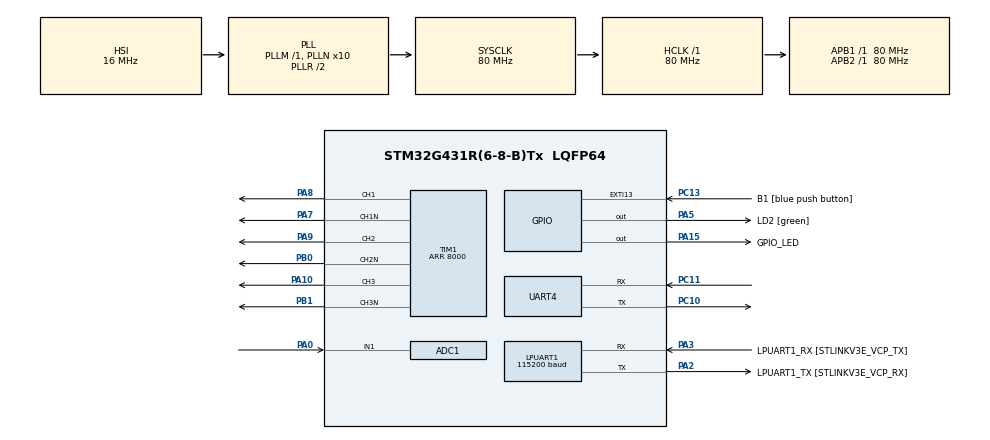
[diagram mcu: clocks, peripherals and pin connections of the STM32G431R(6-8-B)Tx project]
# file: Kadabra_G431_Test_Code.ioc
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Mcu.Family=STM32G4
TIM1.Channel-Output\ Compare2\ CH2\ CH2N=TIM_CHANNEL_2
RCC.CortexFreq_Value=80000000
PC10.Signal=UART4_TX
PA14.GPIO_Label=T_SWCLK
LPUART1.WordLength=UART_WORDLENGTH_8B
PC13.GPIO_Label=B1 [blue push button]
RCC.SYSCLKSource=RCC_SYSCLKSOURCE_PLLCLK
ProjectManager.StackSize=0x400
PA15.GPIO_Label=GPIO_LED
RCC.HCLKFreq_Value=80000000
RCC.APB2TimFreq_Value=80000000
RCC.AHBFreq_Value=80000000
ADC1.Channel-0\#ChannelRegularConversion=ADC_CHANNEL_1
RCC.HSE_VALUE=24000000
RCC.ADC12Freq_Value=80000000
RCC.RTCClockSelection=RCC_RTCCLKSOURCE_LSE
PC14-OSC32_IN.Mode=LSE-External-Oscillator
PA14.Mode=Serial_Wire
PA0.Mode=IN1-Single-Ended
VP_SYS_VS_DBSignals.Mode=DisableDeadBatterySignals
PA8.Signal=S_TIM1_CH1
ADC1.SamplingTime-0\#ChannelRegularConversion=ADC_SAMPLETIME_2CYCLES_5
PA0.Signal=ADC1_IN1
Mcu.Package=LQFP64
PB1.Signal=TIM1_CH3N
PA2.GPIO_Label=LPUART1_TX [STLINKV3E_VCP_RX]
PA10.Signal=S_TIM1_CH3
PA15.Signal=GPIO_Output
PC11.Mode=Asynchronous
RCC.APB1TimFreq_Value=80000000
PF1-OSC_OUT.Mode=HSE-External-Oscillator
PF1-OSC_OUT.Signal=RCC_OSC_OUT
RCC.HSI48_VALUE=48000000
PA3.Signal=LPUART1_RX
PB3.GPIO_Label=T_SWO
PC15-OSC32_OUT.Mode=LSE-External-Oscillator
ADC1.Rank-0\#ChannelRegularConversion=1
PA7.Mode=PWM Generation1 CH1 CH1N
TIM1.CounterMode=TIM_COUNTERMODE_CENTERALIGNED3
ADC1.OffsetNumber-0\#ChannelRegularConversion=ADC_OFFSET_NONE
PC13.Signal=GPXTI13
PC11.Signal=UART4_RX
PC10.Mode=Asynchronous
RCC.EXTERNAL_CLOCK_VALUE=12288000
TIM1.Channel-PWM\ Generation1\ CH1\ CH1N=TIM_CHANNEL_1
PC14-OSC32_IN.Signal=RCC_OSC32_IN
PA13.Signal=SYS_JTMS-SWDIO
PA3.Mode=Asynchronous
SH.S_TIM1_CH1.0=TIM1_CH1,PWM Generation1 CH1 CH1N
ProjectManager.TargetToolchain=STM32CubeIDE
PA9.Signal=S_TIM1_CH2
RCC.USBFreq_Value=80000000
PC15-OSC32_OUT.Signal=RCC_OSC32_OUT
PF0-OSC_IN.Mode=HSE-External-Oscillator
PA5.Signal=GPIO_Output
PB0.Mode=Output Compare2 CH2 CH2N
NVIC.TIM1_BRK_TIM15_IRQn=true\:0\:0\:false\:false\:true\:true\:true
board=NUCLEO-G431RB
RCC.VCOOutputFreq_Value=160000000
RCC.APB2Freq_Value=80000000
VP_TIM15_VS_ClockSourceITR.Mode=TriggerSource_ITR0
SH.S_TIM1_CH2.0=TIM1_CH2,Output Compare2 CH2 CH2N
PA13.Mode=Serial_Wire
Mcu.Name=STM32G431R(6-8-B)Tx
LPUART1.BaudRate=115200
PA13.GPIO_Label=T_SWDIO
PA2.Signal=LPUART1_TX
PB3.Signal=SYS_JTDO-SWO
RCC.SYSCLKFreq_VALUE=80000000
ADC1.master=1
PA5.GPIO_Label=LD2 [green]
PA14.Signal=SYS_JTCK-SWCLK
ProjectManager.HeapSize=0x200
PB1.Mode=Output Compare3 CH3 CH3N
SH.S_TIM1_CH3.0=TIM1_CH3,Output Compare3 CH3 CH3N
RCC.HSI_VALUE=16000000
NVIC.PriorityGroup=NVIC_PRIORITYGROUP_4
ADC1.NbrOfConversionFlag=1
RCC.PLLN=10
PA2.Mode=Asynchronous
TIM1.Channel-Output\ Compare3\ CH3\ CH3N=TIM_CHANNEL_3
PF0-OSC_IN.Signal=RCC_OSC_IN
RCC.APB1Freq_Value=80000000
PB0.Signal=TIM1_CH2N
TIM1.PeriodNoDither=8000
PA3.GPIO_Label=LPUART1_RX [STLINKV3E_VCP_TX]
PA7.Signal=TIM1_CH1N

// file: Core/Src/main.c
/* USER CODE BEGIN Header */
/**
  ******************************************************************************
  * @file           : main.c
  * @brief          : Main program body
  ******************************************************************************
  * @attention
  *
  * <h2><center>&copy; Copyright (c) 2022 STMicroelectronics.
  * All rights reserved.</center></h2>
  *
  * This software component is licensed by ST under BSD 3-Clause license,
  * the "License"; You may not use this file except in compliance with the
  * License. You may obtain a copy of the License at:
  *                        opensource.org/licenses/BSD-3-Clause
  *
  ******************************************************************************
  */
/* USER CODE END Header */
#include "main.h"

/* USER CODE BEGIN Includes */
#include "math.h"
#include "VHZ.h"
#include "SVPWM.h"
#include <string.h>
#include <stdio.h>
#include "DEFINES.H"

/* USER CODE END Includes */

/* USER CODE BEGIN PD */
#define INPUT_VALUE 3.3
#define RESISTOR_VALUE 100
/* USER CODE END PD */

ADC_HandleTypeDef hadc1;

UART_HandleTypeDef hlpuart1;
UART_HandleTypeDef huart4;

TIM_HandleTypeDef htim1;
TIM_HandleTypeDef htim15;

void SystemClock_Config(void);
static void MX_GPIO_Init(void);
static void MX_LPUART1_UART_Init(void);
static void MX_UART4_Init(void);
static void MX_ADC1_Init(void);
static void MX_TIM1_Init(void);
static void MX_TIM15_Init(void);
/* USER CODE BEGIN PFP */
float adc_voltage_conversion (uint16_t raw_a);
float adc_current_conversion (uint16_t raw_a);

/* USER CODE END PFP */

/* USER CODE BEGIN 0 */
VHZPROFILE vhz1;
SVPWM svpwm1;
int OldSector;

float a = 0;
/* USER CODE END 0 */

int main(void)
{
  /* USER CODE BEGIN 1 */
	 SVPWM_Init(&svpwm1, 10000);
	 VHZ_Init(&vhz1, 0.001, 0.01, 10, 100);

	float raw_voltage;
	float raw_current;
	//float voltage;

	char buffer_msg[11];
	char intro_msg[10];
	char intro_response[2];

  /* USER CODE END 1 */

  /* MCU Configuration--------------------------------------------------------*/

  /* Reset of all peripherals, Initializes the Flash interface and the Systick. */
  HAL_Init();

  /* Configure the system clock */
  SystemClock_Config();

  /* Initialize all configured peripherals */
  MX_GPIO_Init();
  MX_LPUART1_UART_Init();
  MX_UART4_Init();
  MX_ADC1_Init();
  MX_TIM1_Init();
  MX_TIM15_Init();
  /* USER CODE BEGIN 2 */
  // Start PWM timers
    HAL_TIM_PWM_Start(&htim1, TIM_CHANNEL_1);
    HAL_TIMEx_PWMN_Start(&htim1, TIM_CHANNEL_1);
    HAL_TIM_PWM_Start(&htim1, TIM_CHANNEL_2);
    HAL_TIMEx_PWMN_Start(&htim1, TIM_CHANNEL_2);
    HAL_TIM_PWM_Start(&htim1, TIM_CHANNEL_3);
    HAL_TIMEx_PWMN_Start(&htim1, TIM_CHANNEL_3);
  //Initialize the interrupt timer
    HAL_TIM_Base_Start_IT(&htim15);

  // Start ADCs
	  HAL_ADC_Start(&hadc1);

  /* USER CODE END 2 */

  /* Infinite loop */
  while (1)
  {

    /* USER CODE BEGIN 3 */
	  sprintf(intro_msg, "testing:");
	  HAL_UART_Transmit(&hlpuart1, (uint8_t*)intro_msg, strlen(intro_msg), HAL_MAX_DELAY);
	  memset(intro_msg,0,10);

	  HAL_UART_Receive(&hlpuart1, (uint8_t*)intro_response, 2, 5000);
	  sprintf(intro_msg, "\r\n");

	  HAL_UART_Transmit(&hlpuart1, (uint8_t*)intro_msg, strlen(intro_msg), HAL_MAX_DELAY);
	  memset(intro_msg, 0, 10);

	  switch(intro_response[0]) {

	  case 'm':				//MCU BLINKY TEST
		  		  	  // Blink LED connected to PA15
		  		  	 for(int i = 0; i < 5; ++i){
		  		  		 HAL_GPIO_WritePin(GPIOA, GPIO_PIN_15, GPIO_PIN_SET);
		  		  		 HAL_Delay(500);
		  		  		 HAL_GPIO_WritePin(GPIOA, GPIO_PIN_15, GPIO_PIN_RESET);
		  		  	  }
	  break;

	  case 'v':				// Voltage Sense Test
		  		  	  HAL_ADC_PollForConversion(&hadc1, HAL_MAX_DELAY);
		  		  	  raw_voltage = HAL_ADC_GetValue(&hadc1);
		  		  	  raw_voltage = adc_voltage_conversion(raw_voltage);

		  			  sprintf(buffer_msg, "%f\r\n", raw_voltage);
		  			  HAL_UART_Transmit(&hlpuart1, (uint8_t*)buffer_msg, strlen(buffer_msg), HAL_MAX_DELAY);

	  break;

	  case 'c':				// Current Sense Test
		  		  	  HAL_ADC_PollForConversion(&hadc1, HAL_MAX_DELAY);
		  		  	  raw_voltage = HAL_ADC_GetValue(&hadc1);
		  		  	  raw_current = adc_current_conversion(raw_voltage);

		  			  sprintf(buffer_msg, "%f\r\n", raw_current);
		  			  HAL_UART_Transmit(&hlpuart1, (uint8_t*)buffer_msg, strlen(buffer_msg), HAL_MAX_DELAY);
	break;
	  }

  }
  /* USER CODE END 3 */
}

void SystemClock_Config(void)
{
  RCC_OscInitTypeDef RCC_OscInitStruct = {0};
  RCC_ClkInitTypeDef RCC_ClkInitStruct = {0};
  RCC_PeriphCLKInitTypeDef PeriphClkInit = {0};

  /** Configure the main internal regulator output voltage
  */
  HAL_PWREx_ControlVoltageScaling(PWR_REGULATOR_VOLTAGE_SCALE1);
  /** Initializes the RCC Oscillators according to the specified parameters
  * in the RCC_OscInitTypeDef structure.
  */
  RCC_OscInitStruct.OscillatorType = RCC_OSCILLATORTYPE_HSI;
  RCC_OscInitStruct.HSIState = RCC_HSI_ON;
  RCC_OscInitStruct.HSICalibrationValue = RCC_HSICALIBRATION_DEFAULT;
  RCC_OscInitStruct.PLL.PLLState = RCC_PLL_ON;
  RCC_OscInitStruct.PLL.PLLSource = RCC_PLLSOURCE_HSI;
  RCC_OscInitStruct.PLL.PLLM = RCC_PLLM_DIV1;
  RCC_OscInitStruct.PLL.PLLN = 10;
  RCC_OscInitStruct.PLL.PLLP = RCC_PLLP_DIV2;
  RCC_OscInitStruct.PLL.PLLQ = RCC_PLLQ_DIV2;
  RCC_OscInitStruct.PLL.PLLR = RCC_PLLR_DIV2;
  if (HAL_RCC_OscConfig(&RCC_OscInitStruct) != HAL_OK)
  {
    Error_Handler();
  }
  /** Initializes the CPU, AHB and APB buses clocks
  */
  RCC_ClkInitStruct.ClockType = RCC_CLOCKTYPE_HCLK|RCC_CLOCKTYPE_SYSCLK
                              |RCC_CLOCKTYPE_PCLK1|RCC_CLOCKTYPE_PCLK2;
  RCC_ClkInitStruct.SYSCLKSource = RCC_SYSCLKSOURCE_PLLCLK;
  RCC_ClkInitStruct.AHBCLKDivider = RCC_SYSCLK_DIV1;
  RCC_ClkInitStruct.APB1CLKDivider = RCC_HCLK_DIV1;
  RCC_ClkInitStruct.APB2CLKDivider = RCC_HCLK_DIV1;

  if (HAL_RCC_ClockConfig(&RCC_ClkInitStruct, FLASH_LATENCY_2) != HAL_OK)
  {
    Error_Handler();
  }
  /** Initializes the peripherals clocks
  */
  PeriphClkInit.PeriphClockSelection = RCC_PERIPHCLK_UART4|RCC_PERIPHCLK_LPUART1
                              |RCC_PERIPHCLK_ADC12;
  PeriphClkInit.Uart4ClockSelection = RCC_UART4CLKSOURCE_PCLK1;
  PeriphClkInit.Lpuart1ClockSelection = RCC_LPUART1CLKSOURCE_PCLK1;
  PeriphClkInit.Adc12ClockSelection = RCC_ADC12CLKSOURCE_SYSCLK;
  if (HAL_RCCEx_PeriphCLKConfig(&PeriphClkInit) != HAL_OK)
  {
    Error_Handler();
  }
}

static void MX_ADC1_Init(void)
{

  ADC_MultiModeTypeDef multimode = {0};
  ADC_ChannelConfTypeDef sConfig = {0};

  /** Common config
  */
  hadc1.Instance = ADC1;
  hadc1.Init.ClockPrescaler = ADC_CLOCK_SYNC_PCLK_DIV2;
  hadc1.Init.Resolution = ADC_RESOLUTION_12B;
  hadc1.Init.DataAlign = ADC_DATAALIGN_RIGHT;
  hadc1.Init.GainCompensation = 0;
  hadc1.Init.ScanConvMode = ADC_SCAN_DISABLE;
  hadc1.Init.EOCSelection = ADC_EOC_SINGLE_CONV;
  hadc1.Init.LowPowerAutoWait = DISABLE;
  hadc1.Init.ContinuousConvMode = DISABLE;
  hadc1.Init.NbrOfConversion = 1;
  hadc1.Init.DiscontinuousConvMode = DISABLE;
  hadc1.Init.ExternalTrigConv = ADC_SOFTWARE_START;
  hadc1.Init.ExternalTrigConvEdge = ADC_EXTERNALTRIGCONVEDGE_NONE;
  hadc1.Init.DMAContinuousRequests = DISABLE;
  hadc1.Init.Overrun = ADC_OVR_DATA_PRESERVED;
  hadc1.Init.OversamplingMode = DISABLE;
  if (HAL_ADC_Init(&hadc1) != HAL_OK)
  {
    Error_Handler();
  }
  /** Configure the ADC multi-mode
  */
  multimode.Mode = ADC_MODE_INDEPENDENT;
  if (HAL_ADCEx_MultiModeConfigChannel(&hadc1, &multimode) != HAL_OK)
  {
    Error_Handler();
  }
  /** Configure Regular Channel
  */
  sConfig.Channel = ADC_CHANNEL_1;
  sConfig.Rank = ADC_REGULAR_RANK_1;
  sConfig.SamplingTime = ADC_SAMPLETIME_2CYCLES_5;
  sConfig.SingleDiff = ADC_SINGLE_ENDED;
  sConfig.OffsetNumber = ADC_OFFSET_NONE;
  sConfig.Offset = 0;
  if (HAL_ADC_ConfigChannel(&hadc1, &sConfig) != HAL_OK)
  {
    Error_Handler();
  }

}

static void MX_LPUART1_UART_Init(void)
{

  hlpuart1.Instance = LPUART1;
  hlpuart1.Init.BaudRate = 115200;
  hlpuart1.Init.WordLength = UART_WORDLENGTH_8B;
  hlpuart1.Init.StopBits = UART_STOPBITS_1;
  hlpuart1.Init.Parity = UART_PARITY_NONE;
  hlpuart1.Init.Mode = UART_MODE_TX_RX;
  hlpuart1.Init.HwFlowCtl = UART_HWCONTROL_NONE;
  hlpuart1.Init.OneBitSampling = UART_ONE_BIT_SAMPLE_DISABLE;
  hlpuart1.Init.ClockPrescaler = UART_PRESCALER_DIV1;
  hlpuart1.AdvancedInit.AdvFeatureInit = UART_ADVFEATURE_NO_INIT;
  if (HAL_UART_Init(&hlpuart1) != HAL_OK)
  {
    Error_Handler();
  }
  if (HAL_UARTEx_SetTxFifoThreshold(&hlpuart1, UART_TXFIFO_THRESHOLD_1_8) != HAL_OK)
  {
    Error_Handler();
  }
  if (HAL_UARTEx_SetRxFifoThreshold(&hlpuart1, UART_RXFIFO_THRESHOLD_1_8) != HAL_OK)
  {
    Error_Handler();
  }
  if (HAL_UARTEx_DisableFifoMode(&hlpuart1) != HAL_OK)
  {
    Error_Handler();
  }

}

static void MX_UART4_Init(void)
{

  huart4.Instance = UART4;
  huart4.Init.BaudRate = 115200;
  huart4.Init.WordLength = UART_WORDLENGTH_8B;
  huart4.Init.StopBits = UART_STOPBITS_1;
  huart4.Init.Parity = UART_PARITY_NONE;
  huart4.Init.Mode = UART_MODE_TX_RX;
  huart4.Init.HwFlowCtl = UART_HWCONTROL_NONE;
  huart4.Init.OverSampling = UART_OVERSAMPLING_16;
  huart4.Init.OneBitSampling = UART_ONE_BIT_SAMPLE_DISABLE;
  huart4.Init.ClockPrescaler = UART_PRESCALER_DIV1;
  huart4.AdvancedInit.AdvFeatureInit = UART_ADVFEATURE_NO_INIT;
  if (HAL_UART_Init(&huart4) != HAL_OK)
  {
    Error_Handler();
  }
  if (HAL_UARTEx_SetTxFifoThreshold(&huart4, UART_TXFIFO_THRESHOLD_1_8) != HAL_OK)
  {
    Error_Handler();
  }
  if (HAL_UARTEx_SetRxFifoThreshold(&huart4, UART_RXFIFO_THRESHOLD_1_8) != HAL_OK)
  {
    Error_Handler();
  }
  if (HAL_UARTEx_DisableFifoMode(&huart4) != HAL_OK)
  {
    Error_Handler();
  }

}

static void MX_TIM1_Init(void)
{

  TIM_MasterConfigTypeDef sMasterConfig = {0};
  TIM_OC_InitTypeDef sConfigOC = {0};
  TIM_BreakDeadTimeConfigTypeDef sBreakDeadTimeConfig = {0};

  htim1.Instance = TIM1;
  htim1.Init.Prescaler = 0;
  htim1.Init.CounterMode = TIM_COUNTERMODE_CENTERALIGNED3;
  htim1.Init.Period = 8000;
  htim1.Init.ClockDivision = TIM_CLOCKDIVISION_DIV1;
  htim1.Init.RepetitionCounter = 0;
  htim1.Init.AutoReloadPreload = TIM_AUTORELOAD_PRELOAD_DISABLE;
  if (HAL_TIM_PWM_Init(&htim1) != HAL_OK)
  {
    Error_Handler();
  }
  if (HAL_TIM_OC_Init(&htim1) != HAL_OK)
  {
    Error_Handler();
  }
  sMasterConfig.MasterOutputTrigger = TIM_TRGO_RESET;
  sMasterConfig.MasterOutputTrigger2 = TIM_TRGO2_RESET;
  sMasterConfig.MasterSlaveMode = TIM_MASTERSLAVEMODE_DISABLE;
  if (HAL_TIMEx_MasterConfigSynchronization(&htim1, &sMasterConfig) != HAL_OK)
  {
    Error_Handler();
  }
  sConfigOC.OCMode = TIM_OCMODE_PWM1;
  sConfigOC.Pulse = 0;
  sConfigOC.OCPolarity = TIM_OCPOLARITY_HIGH;
  sConfigOC.OCNPolarity = TIM_OCNPOLARITY_HIGH;
  sConfigOC.OCFastMode = TIM_OCFAST_DISABLE;
  sConfigOC.OCIdleState = TIM_OCIDLESTATE_RESET;
  sConfigOC.OCNIdleState = TIM_OCNIDLESTATE_RESET;
  if (HAL_TIM_PWM_ConfigChannel(&htim1, &sConfigOC, TIM_CHANNEL_1) != HAL_OK)
  {
    Error_Handler();
  }
  sConfigOC.OCMode = TIM_OCMODE_TIMING;
  if (HAL_TIM_OC_ConfigChannel(&htim1, &sConfigOC, TIM_CHANNEL_2) != HAL_OK)
  {
    Error_Handler();
  }
  if (HAL_TIM_OC_ConfigChannel(&htim1, &sConfigOC, TIM_CHANNEL_3) != HAL_OK)
  {
    Error_Handler();
  }
  sBreakDeadTimeConfig.OffStateRunMode = TIM_OSSR_DISABLE;
  sBreakDeadTimeConfig.OffStateIDLEMode = TIM_OSSI_DISABLE;
  sBreakDeadTimeConfig.LockLevel = TIM_LOCKLEVEL_OFF;
  sBreakDeadTimeConfig.DeadTime = 0;
  sBreakDeadTimeConfig.BreakState = TIM_BREAK_DISABLE;
  sBreakDeadTimeConfig.BreakPolarity = TIM_BREAKPOLARITY_HIGH;
  sBreakDeadTimeConfig.BreakFilter = 0;
  sBreakDeadTimeConfig.BreakAFMode = TIM_BREAK_AFMODE_INPUT;
  sBreakDeadTimeConfig.Break2State = TIM_BREAK2_DISABLE;
  sBreakDeadTimeConfig.Break2Polarity = TIM_BREAK2POLARITY_HIGH;
  sBreakDeadTimeConfig.Break2Filter = 0;
  sBreakDeadTimeConfig.Break2AFMode = TIM_BREAK_AFMODE_INPUT;
  sBreakDeadTimeConfig.AutomaticOutput = TIM_AUTOMATICOUTPUT_DISABLE;
  if (HAL_TIMEx_ConfigBreakDeadTime(&htim1, &sBreakDeadTimeConfig) != HAL_OK)
  {
    Error_Handler();
  }
  HAL_TIM_MspPostInit(&htim1);

}

static void MX_TIM15_Init(void)
{

  TIM_SlaveConfigTypeDef sSlaveConfig = {0};
  TIM_MasterConfigTypeDef sMasterConfig = {0};

  htim15.Instance = TIM15;
  htim15.Init.Prescaler = 0;
  htim15.Init.CounterMode = TIM_COUNTERMODE_UP;
  htim15.Init.Period = 65535;
  htim15.Init.ClockDivision = TIM_CLOCKDIVISION_DIV1;
  htim15.Init.RepetitionCounter = 0;
  htim15.Init.AutoReloadPreload = TIM_AUTORELOAD_PRELOAD_DISABLE;
  if (HAL_TIM_Base_Init(&htim15) != HAL_OK)
  {
    Error_Handler();
  }
  sSlaveConfig.SlaveMode = TIM_SLAVEMODE_DISABLE;
  sSlaveConfig.InputTrigger = TIM_TS_ITR0;
  if (HAL_TIM_SlaveConfigSynchro(&htim15, &sSlaveConfig) != HAL_OK)
  {
    Error_Handler();
  }
  sMasterConfig.MasterOutputTrigger = TIM_TRGO_RESET;
  sMasterConfig.MasterSlaveMode = TIM_MASTERSLAVEMODE_DISABLE;
  if (HAL_TIMEx_MasterConfigSynchronization(&htim15, &sMasterConfig) != HAL_OK)
  {
    Error_Handler();
  }

}

static void MX_GPIO_Init(void)
{
  GPIO_InitTypeDef GPIO_InitStruct = {0};

  /* GPIO Ports Clock Enable */
  __HAL_RCC_GPIOC_CLK_ENABLE();
  __HAL_RCC_GPIOF_CLK_ENABLE();
  __HAL_RCC_GPIOA_CLK_ENABLE();
  __HAL_RCC_GPIOB_CLK_ENABLE();

  /*Configure GPIO pin Output Level */
  HAL_GPIO_WritePin(GPIOA, LD2_Pin|GPIO_LED_Pin, GPIO_PIN_RESET);

  /*Configure GPIO pin : B1_Pin */
  GPIO_InitStruct.Pin = B1_Pin;
  GPIO_InitStruct.Mode = GPIO_MODE_IT_RISING;
  GPIO_InitStruct.Pull = GPIO_NOPULL;
  HAL_GPIO_Init(B1_GPIO_Port, &GPIO_InitStruct);

  /*Configure GPIO pins : LD2_Pin GPIO_LED_Pin */
  GPIO_InitStruct.Pin = LD2_Pin|GPIO_LED_Pin;
  GPIO_InitStruct.Mode = GPIO_MODE_OUTPUT_PP;
  GPIO_InitStruct.Pull = GPIO_NOPULL;
  GPIO_InitStruct.Speed = GPIO_SPEED_FREQ_LOW;
  HAL_GPIO_Init(GPIOA, &GPIO_InitStruct);

}

/* USER CODE BEGIN 4 */

	void HAL_TIM_PeriodElapsedCallback(TIM_HandleTypeDef *htim) {
		if(a==1000){
			HAL_GPIO_WritePin(GPIOA, GPIO_PIN_5, GPIO_PIN_SET);
		}

		OldSector = svpwm1.SectorPointer;
		VHZ_Update(&vhz1);
		SVPWM_Update(&svpwm1, &vhz1, &htim1);

		if(a==10000){
			HAL_GPIO_WritePin(GPIOA, GPIO_PIN_5, GPIO_PIN_RESET);
			a = 0;
		}
		a = a+1;
	}

	float adc_voltage_conversion (uint16_t raw_a)
	{
		return (float) (raw_a / ADC_VOLTAGE_CONVERSION);
	}

	float adc_current_conversion (uint16_t raw_a)
	{
		float voltage_difference = INPUT_VOLTAGE - adc_voltage_conversion(raw_a);

		return (float) voltage_difference / RESISTOR_VALUE;
	}
/* USER CODE END 4 */

void Error_Handler(void)
{
  __disable_irq();
  while (1)
  {
  }
}

/************************ (C) COPYRIGHT STMicroelectronics *****END OF FILE****/
